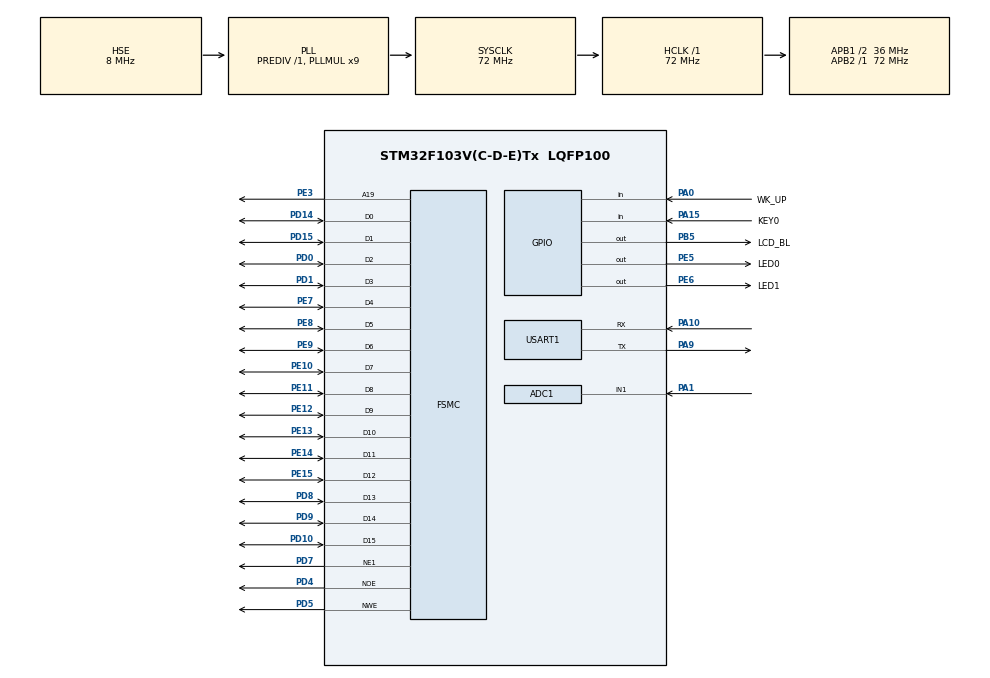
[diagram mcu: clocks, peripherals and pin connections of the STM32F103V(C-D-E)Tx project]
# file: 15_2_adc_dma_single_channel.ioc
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ADC1.Channel-0\#ChannelRegularConversion=ADC_CHANNEL_1
ADC1.ContinuousConvMode=ENABLE
ADC1.NbrOfConversionFlag=1
ADC1.Rank-0\#ChannelRegularConversion=1
ADC1.SamplingTime-0\#ChannelRegularConversion=ADC_SAMPLETIME_239CYCLES_5
ADC1.master=1
Dma.ADC1.0.Direction=DMA_PERIPH_TO_MEMORY
Dma.ADC1.0.Instance=DMA1_Channel1
Dma.ADC1.0.MemDataAlignment=DMA_MDATAALIGN_HALFWORD
Dma.ADC1.0.MemInc=DMA_MINC_ENABLE
Dma.ADC1.0.Mode=DMA_NORMAL
Dma.ADC1.0.PeriphDataAlignment=DMA_PDATAALIGN_HALFWORD
Dma.ADC1.0.PeriphInc=DMA_PINC_DISABLE
Dma.ADC1.0.Priority=DMA_PRIORITY_MEDIUM
Dma.Request0=ADC1
FSMC.AddressSetupTime1=0
FSMC.DataSetupTime1=15
FSMC.ExtendedAddressSetupTime1=0
FSMC.ExtendedDataSetupTime1=1
FSMC.ExtendedMode1=FSMC_EXTENDED_MODE_ENABLE
Mcu.Family=STM32F1
Mcu.Name=STM32F103V(C-D-E)Tx
Mcu.Package=LQFP100
NVIC.DMA1_Channel1_IRQn=true\:2\:1\:true\:false\:true\:false\:true\:true
NVIC.PriorityGroup=NVIC_PRIORITYGROUP_2
NVIC.USART1_IRQn=true\:2\:2\:true\:false\:true\:true\:true\:true
OSC_IN.Mode=HSE-External-Oscillator
OSC_IN.Signal=RCC_OSC_IN
OSC_OUT.Mode=HSE-External-Oscillator
OSC_OUT.Signal=RCC_OSC_OUT
PA0-WKUP.GPIO_Label=WK_UP
PA0-WKUP.GPIO_PuPd=GPIO_PULLDOWN
PA0-WKUP.Signal=GPIO_Input
PA1.Signal=ADCx_IN1
PA10.Mode=Asynchronous
PA10.Signal=USART1_RX
PA13.Mode=Serial_Wire
PA13.Signal=SYS_JTMS-SWDIO
PA14.Mode=Serial_Wire
PA14.Signal=SYS_JTCK-SWCLK
PA15.GPIO_Label=KEY0
PA15.GPIO_PuPd=GPIO_PULLDOWN
PA15.Signal=GPIO_Input
PA9.Mode=Asynchronous
PA9.Signal=USART1_TX
PB5.GPIO_Label=LCD_BL
PB5.GPIO_PuPd=GPIO_PULLUP
PB5.GPIO_Speed=GPIO_SPEED_FREQ_HIGH
PB5.PinState=GPIO_PIN_SET
PB5.Signal=GPIO_Output
PC14-OSC32_IN.Mode=LSE-External-Oscillator
PC14-OSC32_IN.Signal=RCC_OSC32_IN
PC15-OSC32_OUT.Mode=LSE-External-Oscillator
PC15-OSC32_OUT.Signal=RCC_OSC32_OUT
PD0.Mode=16b-d1
PD0.Signal=FSMC_D2
PD1.Mode=16b-d1
PD1.Signal=FSMC_D3
PD10.Mode=16b-d1
PD10.Signal=FSMC_D15
PD14.Mode=16b-d1
PD14.Signal=FSMC_D0
PD15.Mode=16b-d1
PD15.Signal=FSMC_D1
PD4.Mode=Lcd1
PD4.Signal=FSMC_NOE
PD5.Mode=Lcd1
PD5.Signal=FSMC_NWE
PD7.Mode=NorPsramChipSelect1_1
PD7.Signal=FSMC_NE1
PD8.Mode=16b-d1
PD8.Signal=FSMC_D13
PD9.Mode=16b-d1
PD9.Signal=FSMC_D14
PE10.Mode=16b-d1
PE10.Signal=FSMC_D7
PE11.Mode=16b-d1
PE11.Signal=FSMC_D8
PE12.Mode=16b-d1
PE12.Signal=FSMC_D9
PE13.Mode=16b-d1
PE13.Signal=FSMC_D10
PE14.Mode=16b-d1
PE14.Signal=FSMC_D11
PE15.Mode=16b-d1
PE15.Signal=FSMC_D12
PE3.Mode=A19_1
PE3.Signal=FSMC_A19
PE5.GPIO_Label=LED0
PE5.GPIO_PuPd=GPIO_PULLUP
PE5.GPIO_Speed=GPIO_SPEED_FREQ_HIGH
PE5.PinState=GPIO_PIN_SET
PE5.Signal=GPIO_Output
PE6.GPIO_Label=LED1
PE6.GPIO_PuPd=GPIO_PULLUP
PE6.GPIO_Speed=GPIO_SPEED_FREQ_HIGH
PE6.PinState=GPIO_PIN_SET
PE6.Signal=GPIO_Output
PE7.Mode=16b-d1
PE7.Signal=FSMC_D4
PE8.Mode=16b-d1
PE8.Signal=FSMC_D5
PE9.Mode=16b-d1
PE9.Signal=FSMC_D6
ProjectManager.HeapSize=0x200
ProjectManager.StackSize=0x400
ProjectManager.TargetToolchain=STM32CubeIDE
RCC.AHBFreq_Value=72000000
RCC.APB1CLKDivider=RCC_HCLK_DIV2
RCC.APB1Freq_Value=36000000
RCC.APB1TimFreq_Value=72000000
RCC.APB2Freq_Value=72000000
RCC.APB2TimFreq_Value=72000000
RCC.HCLKFreq_Value=72000000
RCC.PLLMUL=RCC_PLL_MUL9
RCC.PLLSourceVirtual=RCC_PLLSOURCE_HSE
RCC.SYSCLKFreq_VALUE=72000000
RCC.SYSCLKSource=RCC_SYSCLKSOURCE_PLLCLK
RCC.USBFreq_Value=72000000
SH.ADCx_IN1.0=ADC1_IN1,IN1
USART1.VirtualMode=VM_ASYNC
board=custom

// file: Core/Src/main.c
/* USER CODE BEGIN Header */
/**
 ****************************************************************************************************
 * @file        main.c
 * @author      ALIENTEK
 * @brief       adc_dma_single_channel code
 * @license     Copyright (C) 2012-2024, ALIENTEK
 ****************************************************************************************************
 * @attention
 *
 * platform     : ALIENTEK M100-STM32F103 board
 * website      : www.alientek.com
 * forum        : www.openedv.com/forum.php
 *
 * change logs  :
 * version      data         notes
 * V1.0         20240409     the first version
 *
 ****************************************************************************************************
 */
/* USER CODE END Header */
#include "main.h"
#include "adc.h"
#include "dma.h"
#include "usart.h"
#include "gpio.h"
#include "fsmc.h"

/* USER CODE BEGIN Includes */
#include "../../BSP/LED/led.h"
#include "../../BSP/KEY/key.h"
#include "../../BSP/LCD/lcd.h"
/* USER CODE END Includes */

/* USER CODE BEGIN PV */

#define ADC_DMA_BUF_SIZE 50                      /* ADC DMA buffer size */
static uint16_t g_adc_dma_buf[ADC_DMA_BUF_SIZE]; /* ADC DMA buffer */

extern uint8_t g_adc_dma_sta; /* DMA transfer completion flag */
extern DMA_HandleTypeDef hdma_adc1;
/* USER CODE END PV */

void SystemClock_Config(void);

/* USER CODE BEGIN 0 */
/**
 * @brief   Displays information about the experiment
 * @param   None
 * @retval  None
 */
void stm32f103ve_show_mesg(void)
{
	/* The serial port outputs the experimental information */
	printf("\n");
	printf("********************************\r\n");
	printf("STM32F103\r\n");
	printf("ADC_DMA_Single_Channel Test\r\n");
	printf("ATOM@ALIENTEK\r\n");
	printf("********************************\r\n");
	printf("\r\n");
}
/* USER CODE END 0 */

int main(void)
{
  /* USER CODE BEGIN 1 */
  uint16_t i;
  uint32_t sum;
  uint16_t adcdata;
  float temp;
  /* USER CODE END 1 */

  /* MCU Configuration--------------------------------------------------------*/

  /* Reset of all peripherals, Initializes the Flash interface and the Systick. */
  HAL_Init();

  /* Configure the system clock */
  SystemClock_Config();

  /* Initialize all configured peripherals */
  MX_GPIO_Init();
  MX_DMA_Init();
  MX_USART1_UART_Init();
  MX_FSMC_Init();
  MX_ADC1_Init();
  /* USER CODE BEGIN 2 */
  lcd_init();                                     /* Initialize LCD */
  stm32f103ve_show_mesg();
  HAL_DMA_Start_IT(&hdma_adc1, (uint32_t)&ADC1->DR, (uint32_t)&g_adc_dma_buf, 0);
  HAL_ADC_Start_DMA(&hadc1, (uint32_t *)g_adc_dma_buf, ADC_DMA_BUF_SIZE);

  lcd_show_string(30, 50, 200, 16, 16, "STM32", RED);
  lcd_show_string(30, 70, 200, 16, 16, "ADC DMA TEST", RED);
  lcd_show_string(30, 90, 200, 16, 16, "ATOM@ALIENTEK", RED);

  lcd_show_string(30, 110, 200, 16, 16, "ADC1_CH1_VAL:0", BLUE);
  lcd_show_string(30, 130, 200, 16, 16, "ADC1_CH1_VOL:0.000V", BLUE);

  adc_dma_enable(ADC_DMA_BUF_SIZE);   /* Start the ADC DMA acquisition */
  /* USER CODE END 2 */

  /* Infinite loop */
  /* USER CODE BEGIN WHILE */
  while (1)
  {
    HAL_ADC_Start(&hadc1);

    if (g_adc_dma_sta == 1)
    {
      /* The average value of the ADC data acquired by DMA is calculated */
      sum = 0;

      for (i = 0; i < ADC_DMA_BUF_SIZE; i++)/* accumulation */
      {
        sum += g_adc_dma_buf[i];
      }

      adcdata = sum / ADC_DMA_BUF_SIZE;     /* averaging */

      /* displaying results */
      lcd_show_xnum(134, 110, adcdata, 5, 16, 0, BLUE);

      temp = (float)adcdata * (3.3 / 4096);                  /* Gets the calculated actual voltage value with a decimal, such as 3.1111 */
      adcdata = temp;
      lcd_show_xnum(134, 130, adcdata, 1, 16, 0, BLUE);      /* Display the integer part of the voltage value, 3.1111, this would display 3 */

      temp -= adcdata;                                       /* Remove the part of the integer already displayed and leave the decimal part, for example, 3.1111-3=0.1111 */
      temp *= 1000;                                          /* Multiplying the decimal part by 1000, for example: 0.1111, converts to 111.1, preserving three decimal places */
      lcd_show_xnum(150, 130, temp, 3, 16, 0X80, BLUE);      /* Display the decimal part (which was converted to an integer), in this case 111. */

      g_adc_dma_sta = 0;                                     /* Clear the DMA acquisition completion status flag */
      adc_dma_enable(ADC_DMA_BUF_SIZE);                      /* Start the next ADC DMA acquisition */
    }

    LED0_TOGGLE();             /* flashing LED0 indicates that the system is running */
    HAL_Delay(500);            /* delay 500ms */
    /* USER CODE END WHILE */

  }
}

void SystemClock_Config(void)
{
  RCC_OscInitTypeDef RCC_OscInitStruct = {0};
  RCC_ClkInitTypeDef RCC_ClkInitStruct = {0};
  RCC_PeriphCLKInitTypeDef PeriphClkInit = {0};

  /** Initializes the RCC Oscillators according to the specified parameters
  * in the RCC_OscInitTypeDef structure.
  */
  RCC_OscInitStruct.OscillatorType = RCC_OSCILLATORTYPE_HSE;
  RCC_OscInitStruct.HSEState = RCC_HSE_ON;
  RCC_OscInitStruct.HSEPredivValue = RCC_HSE_PREDIV_DIV1;
  RCC_OscInitStruct.HSIState = RCC_HSI_ON;
  RCC_OscInitStruct.PLL.PLLState = RCC_PLL_ON;
  RCC_OscInitStruct.PLL.PLLSource = RCC_PLLSOURCE_HSE;
  RCC_OscInitStruct.PLL.PLLMUL = RCC_PLL_MUL9;
  if (HAL_RCC_OscConfig(&RCC_OscInitStruct) != HAL_OK)
  {
    Error_Handler();
  }

  /** Initializes the CPU, AHB and APB buses clocks
  */
  RCC_ClkInitStruct.ClockType = RCC_CLOCKTYPE_HCLK|RCC_CLOCKTYPE_SYSCLK
                              |RCC_CLOCKTYPE_PCLK1|RCC_CLOCKTYPE_PCLK2;
  RCC_ClkInitStruct.SYSCLKSource = RCC_SYSCLKSOURCE_PLLCLK;
  RCC_ClkInitStruct.AHBCLKDivider = RCC_SYSCLK_DIV1;
  RCC_ClkInitStruct.APB1CLKDivider = RCC_HCLK_DIV2;
  RCC_ClkInitStruct.APB2CLKDivider = RCC_HCLK_DIV1;

  if (HAL_RCC_ClockConfig(&RCC_ClkInitStruct, FLASH_LATENCY_2) != HAL_OK)
  {
    Error_Handler();
  }
  PeriphClkInit.PeriphClockSelection = RCC_PERIPHCLK_ADC;
  PeriphClkInit.AdcClockSelection = RCC_ADCPCLK2_DIV2;
  if (HAL_RCCEx_PeriphCLKConfig(&PeriphClkInit) != HAL_OK)
  {
    Error_Handler();
  }
}

void Error_Handler(void)
{
  __disable_irq();
  while (1)
  {
  }
}
